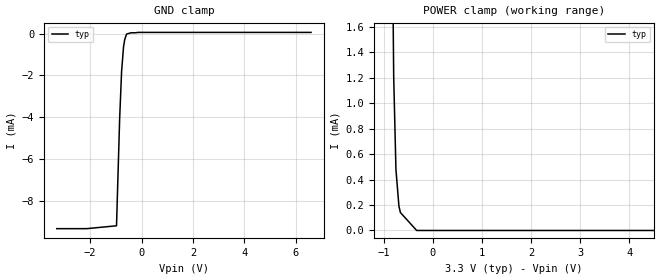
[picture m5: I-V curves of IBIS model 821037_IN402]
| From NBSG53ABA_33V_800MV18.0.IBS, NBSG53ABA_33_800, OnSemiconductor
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| COPYRIGHT(C) MENTOR GRAPHICS CORPORATION 2002 ALL
| RIGHTS RESERVED. THIS WORK CONTAINS PROPRIETARY
| INFORMATION WHICH IS THE PROPERTY OF MENTOR GRAPHICS
| CORPORATION OR ITS LICENSORS. USE OF THESE MATERIALS
| IS SUBJECT TO THE TERMS BELOW.
| USE: MENTOR GRAPHICS HAS LICENSED IBIS MODELS TO
| SPECIFIC INTEGRATED CIRCUIT SUPPLIERS ("IC VENDORS")
| FOR USE AND DISTRIBUTION AS FOLLOWS: EACH IC VENDOR
| MAY USE IBIS MODELS, AND DISTRIBUTE THEM TO IC VENDOR'S
| CUSTOMERS TO USE, SOLELY FOR DEVELOPING PRINTED
| CIRCUIT BOARD DESIGNS. NO OTHER USE OR DISTRIBUTION
| OF THESE MATERIALS IS PERMITTED.
| Model Application Version 1.89 2/18/99.
[Model] 821037_IN402
Model_type Input
Vinl = 600.0mV
Vinh = 1.400V
C_comp 500.0fF NA NA
| variable typ   min   max
[Voltage Range] 3.300V NA NA
[GND Clamp Reference] 0.000V NA NA
[POWER Clamp Reference] 3.300V NA NA
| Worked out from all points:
|   GND clamp passes 1 mA (typ) near -0.72 V on its own axis
|   POWER clamp passes 1 mA (typ) near -0.79 V on its own axis
[GND Clamp]
-3.3V     -9.308mA   NA         NA
-2.136V   -9.308mA   NA         NA
-972.9mV  -9.171mA   NA         NA
-851.4mV  -4.083mA   NA         NA
-775.6mV  -1.82mA    NA         NA
-699.6mV  -632.1uA   NA         NA
-654mV    -292.9uA   NA         NA
-583mV    -27.63uA   NA         NA
-405.6mV  34.08uA    NA         NA
-259.8mV  34.08uA    NA         NA
-114.1mV  53uA       NA         NA
6.6V      53uA       NA         NA
[POWER Clamp]
-3.3V     105.2mA    NA         NA
-799.3mV  1.209mA    NA         NA
-753.5mV  478.4uA    NA         NA
-692.7mV  191.7uA    NA         NA
-662.4mV  141uA      NA         NA
-331.2mV  0A         NA         NA
6.6V      0A         NA         NA
